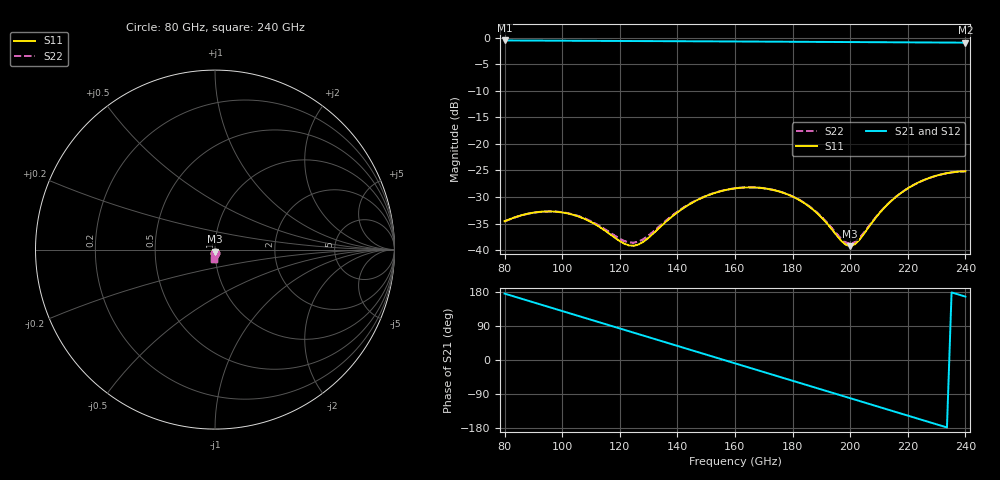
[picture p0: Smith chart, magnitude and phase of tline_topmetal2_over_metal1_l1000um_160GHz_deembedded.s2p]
! Created with skrf 2.2.0 (http://scikit-rf.org).
# GHz S DB R 50.0
! Port[1] = P1
! Port[2] = P2
!freq dBS11 angS11 dBS21 angS21 dBS12 angS12 dBS22 angS22
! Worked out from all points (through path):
!   101 points, 80 GHz to 240 GHz, reference 50 ohm
!   highest |S21| = -0.49 dB at 80 GHz (marker M1); lowest = -0.9 dB at 240 GHz (marker M2)
!   group delay of S21, straight-line fit = 6.39 ps
!   lowest |S11| = -39.3 dB at 200 GHz (marker M3), VSWR 1.02, Z = 49.9 - j1.08 ohm
!   |S11| at or under -10 dB: start of sweep to end of sweep
!   |S22| runs from -38.8 to -25.2 dB; largest |S21 - S12| = 1.6e-14
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80  -34.58 -86.6  -0.49 175.2  -0.49 175.2  -34.61 -87.4
86.4  -33.37 -92.3  -0.50 160.5  -0.50 160.5  -33.39 -92.7
92.8  -32.78 -100.6  -0.52 145.8  -0.52 145.8  -32.80 -100.6
100.8  -32.99 -111.5  -0.53 127.4  -0.53 127.4  -32.94 -111.1
107.2  -34.00 -118.7  -0.55 112.6  -0.55 112.6  -33.89 -118.0
115.2  -36.46 -120.6  -0.57 94.3  -0.57 94.3  -36.20 -119.4
123.2  -39.13 -101.2  -0.59 75.9  -0.59 75.9  -38.57 -101.2
128  -38.52 -80.9  -0.60 64.8  -0.60 64.8  -38.01 -82.7
134.4  -35.46 -67.0  -0.62 50.1  -0.62 50.1  -35.21 -69.5
147.2  -30.49 -73.9  -0.65 20.7  -0.65 20.7  -30.44 -75.4
153.6  -29.13 -83.1  -0.66 5.9  -0.66 5.9  -29.09 -84.3
160  -28.37 -93.5  -0.68 -8.8  -0.68 -8.8  -28.35 -94.4
172.8  -28.62 -115.1  -0.71 -38.2  -0.71 -38.2  -28.59 -115.4
180.8  -30.13 -127.0  -0.74 -56.6  -0.74 -56.6  -30.09 -126.9
187.2  -32.42 -133.1  -0.75 -71.4  -0.75 -71.4  -32.33 -132.6
196.8  -38.20 -117.6  -0.78 -93.4  -0.78 -93.4  -37.83 -117.1
200  -39.27 -95.7  -0.79 -100.8  -0.79 -100.8  -38.83 -96.5
203.2  -38.07 -73.3  -0.80 -108.1  -0.80 -108.1  -37.75 -75.2
214.4  -30.66 -57.7  -0.83 -133.9  -0.83 -133.9  -30.64 -59.0
227.2  -26.46 -75.1  -0.86 -163.3  -0.86 -163.3  -26.47 -75.7
233.6  -25.51 -86.3  -0.88 -178.0  -0.88 -178.0  -25.52 -86.7
240  -25.15 -97.8  -0.90 167.3  -0.90 167.3  -25.16 -98.1
